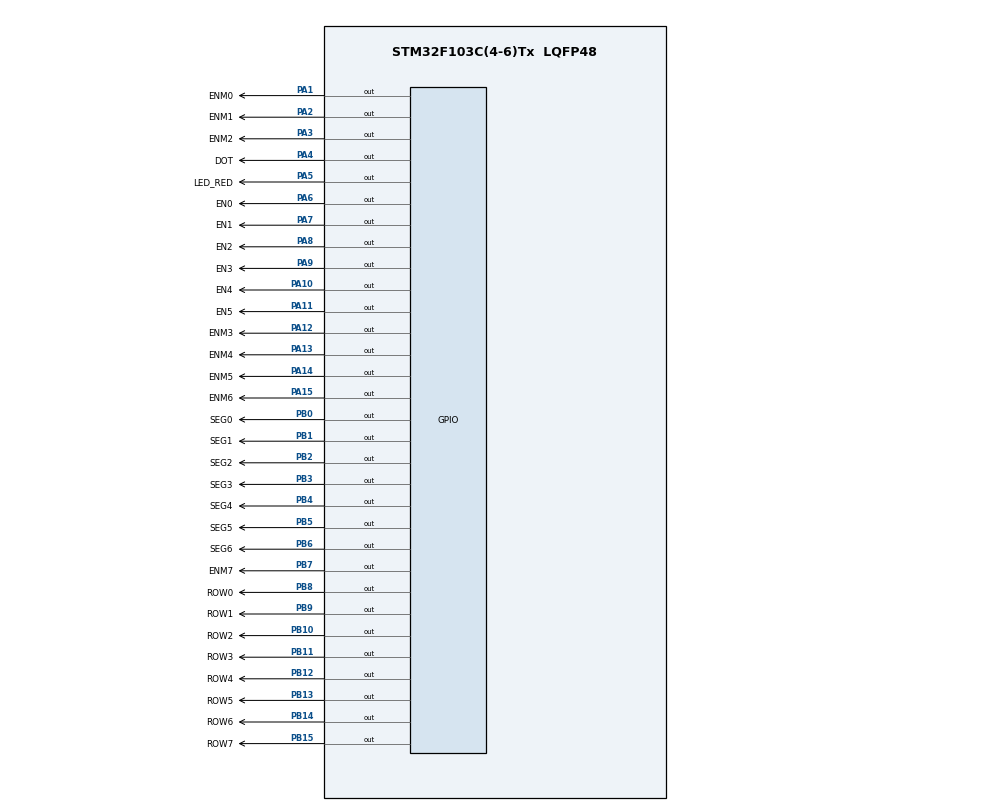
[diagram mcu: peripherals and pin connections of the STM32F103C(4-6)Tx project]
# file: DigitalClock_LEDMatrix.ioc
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Mcu.Family=STM32F1
Mcu.Name=STM32F103C(4-6)Tx
Mcu.Package=LQFP48
NVIC.PriorityGroup=NVIC_PRIORITYGROUP_4
NVIC.TIM2_IRQn=true\:0\:0\:false\:false\:true\:true\:true\:true
PA1.GPIO_Label=ENM0
PA1.Signal=GPIO_Output
PA10.GPIO_Label=EN4
PA10.Signal=GPIO_Output
PA11.GPIO_Label=EN5
PA11.Signal=GPIO_Output
PA12.GPIO_Label=ENM3
PA12.Signal=GPIO_Output
PA13.GPIO_Label=ENM4
PA13.Signal=GPIO_Output
PA14.GPIO_Label=ENM5
PA14.Signal=GPIO_Output
PA15.GPIO_Label=ENM6
PA15.Signal=GPIO_Output
PA2.GPIO_Label=ENM1
PA2.Signal=GPIO_Output
PA3.GPIO_Label=ENM2
PA3.Signal=GPIO_Output
PA4.GPIO_Label=DOT
PA4.Signal=GPIO_Output
PA5.GPIO_Label=LED_RED
PA5.Signal=GPIO_Output
PA6.GPIO_Label=EN0
PA6.Signal=GPIO_Output
PA7.GPIO_Label=EN1
PA7.Signal=GPIO_Output
PA8.GPIO_Label=EN2
PA8.Signal=GPIO_Output
PA9.GPIO_Label=EN3
PA9.Signal=GPIO_Output
PB0.GPIO_Label=SEG0
PB0.Signal=GPIO_Output
PB1.GPIO_Label=SEG1
PB1.Signal=GPIO_Output
PB10.GPIO_Label=ROW2
PB10.Signal=GPIO_Output
PB11.GPIO_Label=ROW3
PB11.Signal=GPIO_Output
PB12.GPIO_Label=ROW4
PB12.Signal=GPIO_Output
PB13.GPIO_Label=ROW5
PB13.Signal=GPIO_Output
PB14.GPIO_Label=ROW6
PB14.Signal=GPIO_Output
PB15.GPIO_Label=ROW7
PB15.Signal=GPIO_Output
PB2.GPIO_Label=SEG2
PB2.Signal=GPIO_Output
PB3.GPIO_Label=SEG3
PB3.Signal=GPIO_Output
PB4.GPIO_Label=SEG4
PB4.Signal=GPIO_Output
PB5.GPIO_Label=SEG5
PB5.Signal=GPIO_Output
PB6.GPIO_Label=SEG6
PB6.Signal=GPIO_Output
PB7.GPIO_Label=ENM7
PB7.Signal=GPIO_Output
PB8.GPIO_Label=ROW0
PB8.Signal=GPIO_Output
PB9.GPIO_Label=ROW1
PB9.Signal=GPIO_Output
ProjectManager.HeapSize=0x200
ProjectManager.StackSize=0x400
ProjectManager.TargetToolchain=STM32CubeIDE
RCC.APB1Freq_Value=8000000
RCC.APB2Freq_Value=8000000
TIM2.Period=9
TIM2.Prescaler=7999
VP_SYS_VS_ND.Mode=No_Debug
VP_TIM2_VS_ClockSourceINT.Mode=Internal
board=custom

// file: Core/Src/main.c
/* USER CODE BEGIN Header */
/**
  ******************************************************************************
  * @file           : main.c
  * @brief          : Main program body
  ******************************************************************************
  * @attention
  *
  * Copyright (c) 2023 STMicroelectronics.
  * All rights reserved.
  *
  * This software is licensed under terms that can be found in the LICENSE file
  * in the root directory of this software component.
  * If no LICENSE file comes with this software, it is provided AS-IS.
  *
  ******************************************************************************
  */
/* USER CODE END Header */
#include "main.h"

/* USER CODE BEGIN Includes */
#include "software_timer.h"
/* USER CODE END Includes */

 TIM_HandleTypeDef htim2;

/* USER CODE BEGIN PV */
const int MAX_LED = 6;
int index_led = 0;
int led_buffer[6] = {1, 2, 3, 4, 5, 6};
int hour = 0, minute = 0, second = 0;

const int MAX_LED_MATRIX = 8;
int index_led_matrix = 0;
uint8_t matrix_buffer[8] = {0b00000000, 0b11111100, 0b00010010, 0b00010001, 0b00010001, 0b00010010, 0b11111100, 0b00000000};
/* USER CODE END PV */

void SystemClock_Config(void);
static void MX_GPIO_Init(void);
static void MX_TIM2_Init(void);
/* USER CODE BEGIN PFP */
void display7SEG(int num);
void update7SEG (int index);
void updateClockBuffer();

void displayLEDMtrix(uint8_t value);
void updateLEDMatrix(int index);
void updateMatrixBuffer();
/* USER CODE END PFP */

int main(void)
{

  /* MCU Configuration--------------------------------------------------------*/

  /* Reset of all peripherals, Initializes the Flash interface and the Systick. */
  HAL_Init();

  /* Configure the system clock */
  SystemClock_Config();

  /* Initialize all configured peripherals */
  MX_GPIO_Init();
  MX_TIM2_Init();
  /* USER CODE BEGIN 2 */
  HAL_TIM_Base_Start_IT(&htim2);
  /* USER CODE END 2 */

  /* Infinite loop */
  /* USER CODE BEGIN WHILE */
  setTimer0(10);
  setTimer1(10);
  setTimer2(10);
  setTimer3(10);
  while (1)
  {
	  if (getTimer0Flag())
	  {
		  updateMatrixBuffer();
		  HAL_GPIO_TogglePin(LED_RED_GPIO_Port, LED_RED_Pin);
		  HAL_GPIO_TogglePin(DOT_GPIO_Port, DOT_Pin);
		  setTimer0(1000);
	  }

	  if (getTimer1Flag())
	  {
		  if (index_led >= MAX_LED)
		  {
			  index_led = 0;
		  }
		  update7SEG(index_led++);

		  if (index_led_matrix >= MAX_LED_MATRIX)
		  {
			  index_led_matrix = 0;
		  }
		  updateLEDMatrix(index_led_matrix++);

		  setTimer1(10);
	  }

	  if (getTimer2Flag())
	  {
		  updateClockBuffer();
		  setTimer2(1000);
	  }

	  if (getTimer3Flag())
	  {
		  updateMatrixBuffer();
		  setTimer3(1000);
	  }
    /* USER CODE END WHILE */

  }
}

void SystemClock_Config(void)
{
  RCC_OscInitTypeDef RCC_OscInitStruct = {0};
  RCC_ClkInitTypeDef RCC_ClkInitStruct = {0};

  /** Initializes the RCC Oscillators according to the specified parameters
  * in the RCC_OscInitTypeDef structure.
  */
  RCC_OscInitStruct.OscillatorType = RCC_OSCILLATORTYPE_HSI;
  RCC_OscInitStruct.HSIState = RCC_HSI_ON;
  RCC_OscInitStruct.HSICalibrationValue = RCC_HSICALIBRATION_DEFAULT;
  RCC_OscInitStruct.PLL.PLLState = RCC_PLL_NONE;
  if (HAL_RCC_OscConfig(&RCC_OscInitStruct) != HAL_OK)
  {
    Error_Handler();
  }

  /** Initializes the CPU, AHB and APB buses clocks
  */
  RCC_ClkInitStruct.ClockType = RCC_CLOCKTYPE_HCLK|RCC_CLOCKTYPE_SYSCLK
                              |RCC_CLOCKTYPE_PCLK1|RCC_CLOCKTYPE_PCLK2;
  RCC_ClkInitStruct.SYSCLKSource = RCC_SYSCLKSOURCE_HSI;
  RCC_ClkInitStruct.AHBCLKDivider = RCC_SYSCLK_DIV1;
  RCC_ClkInitStruct.APB1CLKDivider = RCC_HCLK_DIV1;
  RCC_ClkInitStruct.APB2CLKDivider = RCC_HCLK_DIV1;

  if (HAL_RCC_ClockConfig(&RCC_ClkInitStruct, FLASH_LATENCY_0) != HAL_OK)
  {
    Error_Handler();
  }
}

static void MX_TIM2_Init(void)
{

  TIM_ClockConfigTypeDef sClockSourceConfig = {0};
  TIM_MasterConfigTypeDef sMasterConfig = {0};

  htim2.Instance = TIM2;
  htim2.Init.Prescaler = 7999;
  htim2.Init.CounterMode = TIM_COUNTERMODE_UP;
  htim2.Init.Period = 9;
  htim2.Init.ClockDivision = TIM_CLOCKDIVISION_DIV1;
  htim2.Init.AutoReloadPreload = TIM_AUTORELOAD_PRELOAD_DISABLE;
  if (HAL_TIM_Base_Init(&htim2) != HAL_OK)
  {
    Error_Handler();
  }
  sClockSourceConfig.ClockSource = TIM_CLOCKSOURCE_INTERNAL;
  if (HAL_TIM_ConfigClockSource(&htim2, &sClockSourceConfig) != HAL_OK)
  {
    Error_Handler();
  }
  sMasterConfig.MasterOutputTrigger = TIM_TRGO_RESET;
  sMasterConfig.MasterSlaveMode = TIM_MASTERSLAVEMODE_DISABLE;
  if (HAL_TIMEx_MasterConfigSynchronization(&htim2, &sMasterConfig) != HAL_OK)
  {
    Error_Handler();
  }

}

static void MX_GPIO_Init(void)
{
  GPIO_InitTypeDef GPIO_InitStruct = {0};

  /* GPIO Ports Clock Enable */
  __HAL_RCC_GPIOA_CLK_ENABLE();
  __HAL_RCC_GPIOB_CLK_ENABLE();

  /*Configure GPIO pin Output Level */
  HAL_GPIO_WritePin(GPIOA, ENM0_Pin|ENM1_Pin|ENM2_Pin|DOT_Pin
                          |LED_RED_Pin|EN0_Pin|EN1_Pin|EN2_Pin
                          |EN3_Pin|EN4_Pin|EN5_Pin|ENM3_Pin
                          |ENM4_Pin|ENM5_Pin|ENM6_Pin, GPIO_PIN_RESET);

  /*Configure GPIO pin Output Level */
  HAL_GPIO_WritePin(GPIOB, SEG0_Pin|SEG1_Pin|SEG2_Pin|ROW2_Pin
                          |ROW3_Pin|ROW4_Pin|ROW5_Pin|ROW6_Pin
                          |ROW7_Pin|SEG3_Pin|SEG4_Pin|SEG5_Pin
                          |SEG6_Pin|ENM7_Pin|ROW0_Pin|ROW1_Pin, GPIO_PIN_RESET);

  /*Configure GPIO pins : ENM0_Pin ENM1_Pin ENM2_Pin DOT_Pin
                           LED_RED_Pin EN0_Pin EN1_Pin EN2_Pin
                           EN3_Pin EN4_Pin EN5_Pin ENM3_Pin
                           ENM4_Pin ENM5_Pin ENM6_Pin */
  GPIO_InitStruct.Pin = ENM0_Pin|ENM1_Pin|ENM2_Pin|DOT_Pin
                          |LED_RED_Pin|EN0_Pin|EN1_Pin|EN2_Pin
                          |EN3_Pin|EN4_Pin|EN5_Pin|ENM3_Pin
                          |ENM4_Pin|ENM5_Pin|ENM6_Pin;
  GPIO_InitStruct.Mode = GPIO_MODE_OUTPUT_PP;
  GPIO_InitStruct.Pull = GPIO_NOPULL;
  GPIO_InitStruct.Speed = GPIO_SPEED_FREQ_LOW;
  HAL_GPIO_Init(GPIOA, &GPIO_InitStruct);

  /*Configure GPIO pins : SEG0_Pin SEG1_Pin SEG2_Pin ROW2_Pin
                           ROW3_Pin ROW4_Pin ROW5_Pin ROW6_Pin
                           ROW7_Pin SEG3_Pin SEG4_Pin SEG5_Pin
                           SEG6_Pin ENM7_Pin ROW0_Pin ROW1_Pin */
  GPIO_InitStruct.Pin = SEG0_Pin|SEG1_Pin|SEG2_Pin|ROW2_Pin
                          |ROW3_Pin|ROW4_Pin|ROW5_Pin|ROW6_Pin
                          |ROW7_Pin|SEG3_Pin|SEG4_Pin|SEG5_Pin
                          |SEG6_Pin|ENM7_Pin|ROW0_Pin|ROW1_Pin;
  GPIO_InitStruct.Mode = GPIO_MODE_OUTPUT_PP;
  GPIO_InitStruct.Pull = GPIO_NOPULL;
  GPIO_InitStruct.Speed = GPIO_SPEED_FREQ_LOW;
  HAL_GPIO_Init(GPIOB, &GPIO_InitStruct);

}

/* USER CODE BEGIN 4 */
void HAL_TIM_PeriodElapsedCallback(TIM_HandleTypeDef *htim)
{
	timer_run();
}

void display7SEG(int num)
{
	switch (num)
	{
		case 0:
			HAL_GPIO_WritePin(GPIOB, GPIO_PIN_0, GPIO_PIN_RESET);
			HAL_GPIO_WritePin(GPIOB, GPIO_PIN_1, GPIO_PIN_RESET);
			HAL_GPIO_WritePin(GPIOB, GPIO_PIN_2, GPIO_PIN_RESET);
			HAL_GPIO_WritePin(GPIOB, GPIO_PIN_3, GPIO_PIN_RESET);
			HAL_GPIO_WritePin(GPIOB, GPIO_PIN_4, GPIO_PIN_RESET);
			HAL_GPIO_WritePin(GPIOB, GPIO_PIN_5, GPIO_PIN_RESET);
			HAL_GPIO_WritePin(GPIOB, GPIO_PIN_6, GPIO_PIN_SET);
			break;
		case 1:
			HAL_GPIO_WritePin(GPIOB, GPIO_PIN_0, GPIO_PIN_SET);
			HAL_GPIO_WritePin(GPIOB, GPIO_PIN_1, GPIO_PIN_RESET);
			HAL_GPIO_WritePin(GPIOB, GPIO_PIN_2, GPIO_PIN_RESET);
			HAL_GPIO_WritePin(GPIOB, GPIO_PIN_3, GPIO_PIN_SET);
			HAL_GPIO_WritePin(GPIOB, GPIO_PIN_4, GPIO_PIN_SET);
			HAL_GPIO_WritePin(GPIOB, GPIO_PIN_5, GPIO_PIN_SET);
			HAL_GPIO_WritePin(GPIOB, GPIO_PIN_6, GPIO_PIN_SET);
			break;
		case 2:
			HAL_GPIO_WritePin(GPIOB, GPIO_PIN_0, GPIO_PIN_RESET);
			HAL_GPIO_WritePin(GPIOB, GPIO_PIN_1, GPIO_PIN_RESET);
			HAL_GPIO_WritePin(GPIOB, GPIO_PIN_2, GPIO_PIN_SET);
			HAL_GPIO_WritePin(GPIOB, GPIO_PIN_3, GPIO_PIN_RESET);
			HAL_GPIO_WritePin(GPIOB, GPIO_PIN_4, GPIO_PIN_RESET);
			HAL_GPIO_WritePin(GPIOB, GPIO_PIN_5, GPIO_PIN_SET);
			HAL_GPIO_WritePin(GPIOB, GPIO_PIN_6, GPIO_PIN_RESET);
			break;
		  case 3:
			HAL_GPIO_WritePin(GPIOB, GPIO_PIN_0, GPIO_PIN_RESET);
			HAL_GPIO_WritePin(GPIOB, GPIO_PIN_1, GPIO_PIN_RESET);
			HAL_GPIO_WritePin(GPIOB, GPIO_PIN_2, GPIO_PIN_RESET);
			HAL_GPIO_WritePin(GPIOB, GPIO_PIN_3, GPIO_PIN_RESET);
			HAL_GPIO_WritePin(GPIOB, GPIO_PIN_4, GPIO_PIN_SET);
			HAL_GPIO_WritePin(GPIOB, GPIO_PIN_5, GPIO_PIN_SET);
			HAL_GPIO_WritePin(GPIOB, GPIO_PIN_6, GPIO_PIN_RESET);
			break;
		  case 4:
			HAL_GPIO_WritePin(GPIOB, GPIO_PIN_0, GPIO_PIN_SET);
			HAL_GPIO_WritePin(GPIOB, GPIO_PIN_1, GPIO_PIN_RESET);
			HAL_GPIO_WritePin(GPIOB, GPIO_PIN_2, GPIO_PIN_RESET);
			HAL_GPIO_WritePin(GPIOB, GPIO_PIN_3, GPIO_PIN_SET);
			HAL_GPIO_WritePin(GPIOB, GPIO_PIN_4, GPIO_PIN_SET);
			HAL_GPIO_WritePin(GPIOB, GPIO_PIN_5, GPIO_PIN_RESET);
			HAL_GPIO_WritePin(GPIOB, GPIO_PIN_6, GPIO_PIN_RESET);
			break;
		  case 5:
			HAL_GPIO_WritePin(GPIOB, GPIO_PIN_0, GPIO_PIN_RESET);
			HAL_GPIO_WritePin(GPIOB, GPIO_PIN_1, GPIO_PIN_SET);
			HAL_GPIO_WritePin(GPIOB, GPIO_PIN_2, GPIO_PIN_RESET);
			HAL_GPIO_WritePin(GPIOB, GPIO_PIN_3, GPIO_PIN_RESET);
			HAL_GPIO_WritePin(GPIOB, GPIO_PIN_4, GPIO_PIN_SET);
			HAL_GPIO_WritePin(GPIOB, GPIO_PIN_5, GPIO_PIN_RESET);
			HAL_GPIO_WritePin(GPIOB, GPIO_PIN_6, GPIO_PIN_RESET);
			break;
		  case 6:
			HAL_GPIO_WritePin(GPIOB, GPIO_PIN_0, GPIO_PIN_RESET);
			HAL_GPIO_WritePin(GPIOB, GPIO_PIN_1, GPIO_PIN_SET);
			HAL_GPIO_WritePin(GPIOB, GPIO_PIN_2, GPIO_PIN_RESET);
			HAL_GPIO_WritePin(GPIOB, GPIO_PIN_3, GPIO_PIN_RESET);
			HAL_GPIO_WritePin(GPIOB, GPIO_PIN_4, GPIO_PIN_RESET);
			HAL_GPIO_WritePin(GPIOB, GPIO_PIN_5, GPIO_PIN_RESET);
			HAL_GPIO_WritePin(GPIOB, GPIO_PIN_6, GPIO_PIN_RESET);
			break;
		  case 7:
			HAL_GPIO_WritePin(GPIOB, GPIO_PIN_0, GPIO_PIN_RESET);
			HAL_GPIO_WritePin(GPIOB, GPIO_PIN_1, GPIO_PIN_RESET);
			HAL_GPIO_WritePin(GPIOB, GPIO_PIN_2, GPIO_PIN_RESET);
			HAL_GPIO_WritePin(GPIOB, GPIO_PIN_3, GPIO_PIN_SET);
			HAL_GPIO_WritePin(GPIOB, GPIO_PIN_4, GPIO_PIN_SET);
			HAL_GPIO_WritePin(GPIOB, GPIO_PIN_5, GPIO_PIN_SET);
			HAL_GPIO_WritePin(GPIOB, GPIO_PIN_6, GPIO_PIN_SET);
			break;
		  case 8:
			HAL_GPIO_WritePin(GPIOB, GPIO_PIN_0, GPIO_PIN_RESET);
			HAL_GPIO_WritePin(GPIOB, GPIO_PIN_1, GPIO_PIN_RESET);
			HAL_GPIO_WritePin(GPIOB, GPIO_PIN_2, GPIO_PIN_RESET);
			HAL_GPIO_WritePin(GPIOB, GPIO_PIN_3, GPIO_PIN_RESET);
			HAL_GPIO_WritePin(GPIOB, GPIO_PIN_4, GPIO_PIN_RESET);
			HAL_GPIO_WritePin(GPIOB, GPIO_PIN_5, GPIO_PIN_RESET);
			HAL_GPIO_WritePin(GPIOB, GPIO_PIN_6, GPIO_PIN_RESET);
			break;
		  case 9:
			HAL_GPIO_WritePin(GPIOB, GPIO_PIN_0, GPIO_PIN_RESET);
			HAL_GPIO_WritePin(GPIOB, GPIO_PIN_1, GPIO_PIN_RESET);
			HAL_GPIO_WritePin(GPIOB, GPIO_PIN_2, GPIO_PIN_RESET);
			HAL_GPIO_WritePin(GPIOB, GPIO_PIN_3, GPIO_PIN_RESET);
			HAL_GPIO_WritePin(GPIOB, GPIO_PIN_4, GPIO_PIN_SET);
			HAL_GPIO_WritePin(GPIOB, GPIO_PIN_5, GPIO_PIN_RESET);
			HAL_GPIO_WritePin(GPIOB, GPIO_PIN_6, GPIO_PIN_RESET);
			break;
		  default:
			  break;
	}
}

void update7SEG(int index)
{
	switch (index)
	{
		case 0:
			HAL_GPIO_WritePin(EN5_GPIO_Port, EN5_Pin, GPIO_PIN_RESET);
			HAL_GPIO_WritePin(EN4_GPIO_Port, EN4_Pin, GPIO_PIN_RESET);
			HAL_GPIO_WritePin(EN3_GPIO_Port, EN3_Pin, GPIO_PIN_RESET);
			HAL_GPIO_WritePin(EN2_GPIO_Port, EN2_Pin, GPIO_PIN_RESET);
			HAL_GPIO_WritePin(EN1_GPIO_Port, EN1_Pin, GPIO_PIN_RESET);
			HAL_GPIO_WritePin(EN0_GPIO_Port, EN0_Pin, GPIO_PIN_SET);
			display7SEG(led_buffer[index]);
			break;
		case 1:
			HAL_GPIO_WritePin(EN0_GPIO_Port, EN0_Pin, GPIO_PIN_RESET);
			HAL_GPIO_WritePin(EN5_GPIO_Port, EN5_Pin, GPIO_PIN_RESET);
			HAL_GPIO_WritePin(EN4_GPIO_Port, EN4_Pin, GPIO_PIN_RESET);
			HAL_GPIO_WritePin(EN3_GPIO_Port, EN3_Pin, GPIO_PIN_RESET);
			HAL_GPIO_WritePin(EN2_GPIO_Port, EN2_Pin, GPIO_PIN_RESET);
			HAL_GPIO_WritePin(EN1_GPIO_Port, EN1_Pin, GPIO_PIN_SET);
			display7SEG(led_buffer[index]);
			break;
		case 2:
			HAL_GPIO_WritePin(EN1_GPIO_Port, EN1_Pin, GPIO_PIN_RESET);
			HAL_GPIO_WritePin(EN0_GPIO_Port, EN0_Pin, GPIO_PIN_RESET);
			HAL_GPIO_WritePin(EN5_GPIO_Port, EN5_Pin, GPIO_PIN_RESET);
			HAL_GPIO_WritePin(EN4_GPIO_Port, EN4_Pin, GPIO_PIN_RESET);
			HAL_GPIO_WritePin(EN3_GPIO_Port, EN3_Pin, GPIO_PIN_RESET);
			HAL_GPIO_WritePin(EN2_GPIO_Port, EN2_Pin, GPIO_PIN_SET);
			display7SEG(led_buffer[index]);
			break;
		case 3:
			HAL_GPIO_WritePin(EN2_GPIO_Port, EN2_Pin, GPIO_PIN_RESET);
			HAL_GPIO_WritePin(EN1_GPIO_Port, EN1_Pin, GPIO_PIN_RESET);
			HAL_GPIO_WritePin(EN0_GPIO_Port, EN0_Pin, GPIO_PIN_RESET);
			HAL_GPIO_WritePin(EN5_GPIO_Port, EN5_Pin, GPIO_PIN_RESET);
			HAL_GPIO_WritePin(EN4_GPIO_Port, EN4_Pin, GPIO_PIN_RESET);
			HAL_GPIO_WritePin(EN3_GPIO_Port, EN3_Pin, GPIO_PIN_SET);
			display7SEG(led_buffer[index]);
			break;
		case 4:
			HAL_GPIO_WritePin(EN3_GPIO_Port, EN3_Pin, GPIO_PIN_RESET);
			HAL_GPIO_WritePin(EN2_GPIO_Port, EN2_Pin, GPIO_PIN_RESET);
			HAL_GPIO_WritePin(EN1_GPIO_Port, EN1_Pin, GPIO_PIN_RESET);
			HAL_GPIO_WritePin(EN0_GPIO_Port, EN0_Pin, GPIO_PIN_RESET);
			HAL_GPIO_WritePin(EN5_GPIO_Port, EN5_Pin, GPIO_PIN_RESET);
			HAL_GPIO_WritePin(EN4_GPIO_Port, EN4_Pin, GPIO_PIN_SET);
			display7SEG(led_buffer[index]);
			break;
		case 5:
			HAL_GPIO_WritePin(EN4_GPIO_Port, EN4_Pin, GPIO_PIN_RESET);
			HAL_GPIO_WritePin(EN3_GPIO_Port, EN3_Pin, GPIO_PIN_RESET);
			HAL_GPIO_WritePin(EN2_GPIO_Port, EN2_Pin, GPIO_PIN_RESET);
			HAL_GPIO_WritePin(EN1_GPIO_Port, EN1_Pin, GPIO_PIN_RESET);
			HAL_GPIO_WritePin(EN0_GPIO_Port, EN0_Pin, GPIO_PIN_RESET);
			HAL_GPIO_WritePin(EN5_GPIO_Port, EN5_Pin, GPIO_PIN_SET);
			display7SEG(led_buffer[index]);
			break;
		default:
			break;
	}
}

void updateClockBuffer()
{
	second++;
	if (second >= 60)
	{
		second = 0;
		minute++;
	}
	if (minute >= 60)
	{
		minute = 0;
		hour++;
	}
	if (hour >= 24)
	{
		hour = 0;
	}
	led_buffer[4] = second / 10;
	led_buffer[5] = second % 10;
	led_buffer[2] = minute / 10;
	led_buffer[3] = minute % 10;
	led_buffer[0] = hour / 10;
	led_buffer[1] = hour % 10;
}

void displayLEDMtrix(uint8_t value)
{
	if (value & (1U << 0))
		HAL_GPIO_WritePin(ROW0_GPIO_Port, ROW0_Pin, GPIO_PIN_RESET);
	else
		HAL_GPIO_WritePin(ROW0_GPIO_Port, ROW0_Pin, GPIO_PIN_SET);

	if (value & (1U << 1))
		HAL_GPIO_WritePin(ROW1_GPIO_Port, ROW1_Pin, GPIO_PIN_RESET);
	else
		HAL_GPIO_WritePin(ROW1_GPIO_Port, ROW1_Pin, GPIO_PIN_SET);

	if (value & (1U << 2))
		HAL_GPIO_WritePin(ROW2_GPIO_Port, ROW2_Pin, GPIO_PIN_RESET);
	else
		HAL_GPIO_WritePin(ROW2_GPIO_Port, ROW2_Pin, GPIO_PIN_SET);

	if (value & (1U << 3))
		HAL_GPIO_WritePin(ROW3_GPIO_Port, ROW3_Pin, GPIO_PIN_RESET);
	else
		HAL_GPIO_WritePin(ROW3_GPIO_Port, ROW3_Pin, GPIO_PIN_SET);

	if (value & (1U << 4))
		HAL_GPIO_WritePin(ROW4_GPIO_Port, ROW4_Pin, GPIO_PIN_RESET);
	else
		HAL_GPIO_WritePin(ROW4_GPIO_Port, ROW4_Pin, GPIO_PIN_SET);

	if (value & (1U << 5))
		HAL_GPIO_WritePin(ROW5_GPIO_Port, ROW5_Pin, GPIO_PIN_RESET);
	else
		HAL_GPIO_WritePin(ROW5_GPIO_Port, ROW5_Pin, GPIO_PIN_SET);

	if (value & (1U << 6))
		HAL_GPIO_WritePin(ROW6_GPIO_Port, ROW6_Pin, GPIO_PIN_RESET);
	else
		HAL_GPIO_WritePin(ROW6_GPIO_Port, ROW6_Pin, GPIO_PIN_SET);

	if (value & (1U << 7))
		HAL_GPIO_WritePin(ROW7_GPIO_Port, ROW7_Pin, GPIO_PIN_RESET);
	else
		HAL_GPIO_WritePin(ROW7_GPIO_Port, ROW7_Pin, GPIO_PIN_SET);
}

void updateLEDMatrix(int index)
{
	switch (index)
	{
		case 0:
			HAL_GPIO_WritePin(ENM7_GPIO_Port, ENM7_Pin, GPIO_PIN_SET);
			HAL_GPIO_WritePin(ENM6_GPIO_Port, ENM6_Pin, GPIO_PIN_SET);
			HAL_GPIO_WritePin(ENM5_GPIO_Port, ENM5_Pin, GPIO_PIN_SET);
			HAL_GPIO_WritePin(ENM4_GPIO_Port, ENM4_Pin, GPIO_PIN_SET);
			HAL_GPIO_WritePin(ENM3_GPIO_Port, ENM3_Pin, GPIO_PIN_SET);
			HAL_GPIO_WritePin(ENM2_GPIO_Port, ENM2_Pin, GPIO_PIN_SET);
			HAL_GPIO_WritePin(ENM1_GPIO_Port, ENM1_Pin, GPIO_PIN_SET);
			HAL_GPIO_WritePin(ENM0_GPIO_Port, ENM0_Pin, GPIO_PIN_RESET);
			displayLEDMtrix(matrix_buffer[index]);
			break;
		case 1:
			HAL_GPIO_WritePin(ENM0_GPIO_Port, ENM0_Pin, GPIO_PIN_SET);
			HAL_GPIO_WritePin(ENM7_GPIO_Port, ENM7_Pin, GPIO_PIN_SET);
			HAL_GPIO_WritePin(ENM6_GPIO_Port, ENM6_Pin, GPIO_PIN_SET);
			HAL_GPIO_WritePin(ENM5_GPIO_Port, ENM5_Pin, GPIO_PIN_SET);
			HAL_GPIO_WritePin(ENM4_GPIO_Port, ENM4_Pin, GPIO_PIN_SET);
			HAL_GPIO_WritePin(ENM3_GPIO_Port, ENM3_Pin, GPIO_PIN_SET);
			HAL_GPIO_WritePin(ENM2_GPIO_Port, ENM2_Pin, GPIO_PIN_SET);
			HAL_GPIO_WritePin(ENM1_GPIO_Port, ENM1_Pin, GPIO_PIN_RESET);
			displayLEDMtrix(matrix_buffer[index]);
			break;
		case 2:
			HAL_GPIO_WritePin(ENM1_GPIO_Port, ENM1_Pin, GPIO_PIN_SET);
			HAL_GPIO_WritePin(ENM0_GPIO_Port, ENM0_Pin, GPIO_PIN_SET);
			HAL_GPIO_WritePin(ENM7_GPIO_Port, ENM7_Pin, GPIO_PIN_SET);
			HAL_GPIO_WritePin(ENM6_GPIO_Port, ENM6_Pin, GPIO_PIN_SET);
			HAL_GPIO_WritePin(ENM5_GPIO_Port, ENM5_Pin, GPIO_PIN_SET);
			HAL_GPIO_WritePin(ENM4_GPIO_Port, ENM4_Pin, GPIO_PIN_SET);
			HAL_GPIO_WritePin(ENM3_GPIO_Port, ENM3_Pin, GPIO_PIN_SET);
			HAL_GPIO_WritePin(ENM2_GPIO_Port, ENM2_Pin, GPIO_PIN_RESET);
			displayLEDMtrix(matrix_buffer[index]);
			break;
		case 3:
			HAL_GPIO_WritePin(ENM2_GPIO_Port, ENM2_Pin, GPIO_PIN_SET);
			HAL_GPIO_WritePin(ENM1_GPIO_Port, ENM1_Pin, GPIO_PIN_SET);
			HAL_GPIO_WritePin(ENM0_GPIO_Port, ENM0_Pin, GPIO_PIN_SET);
			HAL_GPIO_WritePin(ENM7_GPIO_Port, ENM7_Pin, GPIO_PIN_SET);
			HAL_GPIO_WritePin(ENM6_GPIO_Port, ENM6_Pin, GPIO_PIN_SET);
			HAL_GPIO_WritePin(ENM5_GPIO_Port, ENM5_Pin, GPIO_PIN_SET);
			HAL_GPIO_WritePin(ENM4_GPIO_Port, ENM4_Pin, GPIO_PIN_SET);
			HAL_GPIO_WritePin(ENM3_GPIO_Port, ENM3_Pin, GPIO_PIN_RESET);
			displayLEDMtrix(matrix_buffer[index]);
			break;
		case 4:
			HAL_GPIO_WritePin(ENM3_GPIO_Port, ENM3_Pin, GPIO_PIN_SET);
			HAL_GPIO_WritePin(ENM2_GPIO_Port, ENM2_Pin, GPIO_PIN_SET);
			HAL_GPIO_WritePin(ENM1_GPIO_Port, ENM1_Pin, GPIO_PIN_SET);
			HAL_GPIO_WritePin(ENM0_GPIO_Port, ENM0_Pin, GPIO_PIN_SET);
			HAL_GPIO_WritePin(ENM7_GPIO_Port, ENM7_Pin, GPIO_PIN_SET);
			HAL_GPIO_WritePin(ENM6_GPIO_Port, ENM6_Pin, GPIO_PIN_SET);
			HAL_GPIO_WritePin(ENM5_GPIO_Port, ENM5_Pin, GPIO_PIN_SET);
			HAL_GPIO_WritePin(ENM4_GPIO_Port, ENM4_Pin, GPIO_PIN_RESET);
			displayLEDMtrix(matrix_buffer[index]);
			break;
		case 5:
			HAL_GPIO_WritePin(ENM4_GPIO_Port, ENM4_Pin, GPIO_PIN_SET);
			HAL_GPIO_WritePin(ENM3_GPIO_Port, ENM3_Pin, GPIO_PIN_SET);
			HAL_GPIO_WritePin(ENM2_GPIO_Port, ENM2_Pin, GPIO_PIN_SET);
			HAL_GPIO_WritePin(ENM1_GPIO_Port, ENM1_Pin, GPIO_PIN_SET);
			HAL_GPIO_WritePin(ENM0_GPIO_Port, ENM0_Pin, GPIO_PIN_SET);
			HAL_GPIO_WritePin(ENM7_GPIO_Port, ENM7_Pin, GPIO_PIN_SET);
			HAL_GPIO_WritePin(ENM6_GPIO_Port, ENM6_Pin, GPIO_PIN_SET);
			HAL_GPIO_WritePin(ENM5_GPIO_Port, ENM5_Pin, GPIO_PIN_RESET);
			displayLEDMtrix(matrix_buffer[index]);
			break;
		case 6:
			HAL_GPIO_WritePin(ENM5_GPIO_Port, ENM5_Pin, GPIO_PIN_SET);
			HAL_GPIO_WritePin(ENM4_GPIO_Port, ENM4_Pin, GPIO_PIN_SET);
			HAL_GPIO_WritePin(ENM3_GPIO_Port, ENM3_Pin, GPIO_PIN_SET);
			HAL_GPIO_WritePin(ENM2_GPIO_Port, ENM2_Pin, GPIO_PIN_SET);
			HAL_GPIO_WritePin(ENM1_GPIO_Port, ENM1_Pin, GPIO_PIN_SET);
			HAL_GPIO_WritePin(ENM0_GPIO_Port, ENM0_Pin, GPIO_PIN_SET);
			HAL_GPIO_WritePin(ENM7_GPIO_Port, ENM7_Pin, GPIO_PIN_SET);
			HAL_GPIO_WritePin(ENM6_GPIO_Port, ENM6_Pin, GPIO_PIN_RESET);
			displayLEDMtrix(matrix_buffer[index]);
			break;
		case 7:
			HAL_GPIO_WritePin(ENM6_GPIO_Port, ENM6_Pin, GPIO_PIN_SET);
			HAL_GPIO_WritePin(ENM5_GPIO_Port, ENM5_Pin, GPIO_PIN_SET);
			HAL_GPIO_WritePin(ENM4_GPIO_Port, ENM4_Pin, GPIO_PIN_SET);
			HAL_GPIO_WritePin(ENM3_GPIO_Port, ENM3_Pin, GPIO_PIN_SET);
			HAL_GPIO_WritePin(ENM2_GPIO_Port, ENM2_Pin, GPIO_PIN_SET);
			HAL_GPIO_WritePin(ENM1_GPIO_Port, ENM1_Pin, GPIO_PIN_SET);
			HAL_GPIO_WritePin(ENM0_GPIO_Port, ENM0_Pin, GPIO_PIN_SET);
			HAL_GPIO_WritePin(ENM7_GPIO_Port, ENM7_Pin, GPIO_PIN_RESET);
			displayLEDMtrix(matrix_buffer[index]);
			break;
		default:
			break;
	}
}

void updateMatrixBuffer()
{
	uint8_t temp = matrix_buffer[0];
	matrix_buffer[0] = matrix_buffer[1];
	matrix_buffer[1] = matrix_buffer[2];
	matrix_buffer[2] = matrix_buffer[3];
	matrix_buffer[3] = matrix_buffer[4];
	matrix_buffer[4] = matrix_buffer[5];
	matrix_buffer[5] = matrix_buffer[6];
	matrix_buffer[6] = matrix_buffer[7];
	matrix_buffer[7] = temp;
}
/* USER CODE END 4 */

void Error_Handler(void)
{
  __disable_irq();
  while (1)
  {
  }
}
